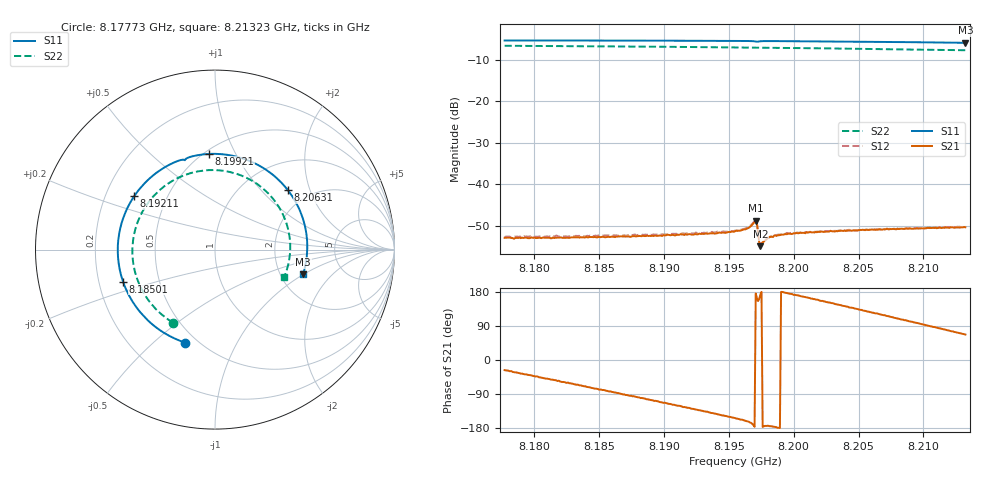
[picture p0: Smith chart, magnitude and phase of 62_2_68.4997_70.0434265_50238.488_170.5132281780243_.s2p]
#  HZ  S  RI  R  50.00
! Rohde & Schwarz Vector Network Analyzer
! Rohde-Schwarz,ZNB20-2Port,1311601062101988,3.16
! Created: UTC 3/20/2024, 5:06:32 PM
! freq[Hz]  re:S11  im:S11  re:S21  im:S21  re:S12  im:S12  re:S22  im:S22
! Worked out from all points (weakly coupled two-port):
!   401 points, 8.17773 GHz to 8.21323 GHz, reference 50 ohm
!   highest |S21| = -48.84 dB at 8.19708 GHz (marker M1); lowest = -55.0 dB at 8.19743 GHz (marker M2)
!   lowest |S11| = -5.9 dB at 8.21323 GHz (marker M3), VSWR 3.08, Z = 133 - j49.6 ohm
!   |S11| at or under -10 dB: nowhere
!   |S22| runs from -7.6 to -6.6 dB; largest |S21 - S12| = 0.00018
!   S11 on the Smith chart (normalised r, x): 8.17773 GHz: 0.43, -0.64; 8.18501 GHz: 0.30, -0.15; 8.19211 GHz: 0.32, +0.27; 8.19921 GHz: 0.53, +0.79; 8.20631 GHz: 1.57, +1.43; 8.21323 GHz: 2.65, -0.99
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8.177733e9  -0.1655 -0.5184  0.00201 -0.00101  0.00204 -0.00106  -0.2349 -0.4066
8.180484e9  -0.3325 -0.4301  0.00156 -0.00161  0.0016 -0.00169  -0.352 -0.3062
8.183679e9  -0.4753 -0.2626  0.000856 -0.00211  0.000839 -0.0022  -0.4378 -0.1509
8.18501e9  -0.5126 -0.178  0.000475 -0.00226  0.00047 -0.00236  -0.4551 -0.0789
8.187317e9  -0.5415 -0.0202  -0.00016 -0.00234  -0.000194 -0.00241  -0.457 0.049
8.189625e9  -0.5227 0.1396  -0.000816 -0.00224  -0.0009 -0.00231  -0.4233 0.1722
8.192109e9  -0.4505 0.2972  -0.00153 -0.00193  -0.00165 -0.00194  -0.3503 0.2891
8.195481e9  -0.2794 0.4591  -0.00241 -0.00122  -0.00251 -0.00111  -0.2006 0.402
8.196458e9  -0.2167 0.4902  -0.0028 -0.000905  -0.0029 -0.000839  -0.1496 0.4219
8.19699e9  -0.1779 0.501  -0.00349 -0.000227  -0.00359 -0.000102  -0.1206 0.4302
8.197079e9  -0.1712 0.5  -0.0036 0.00028  -0.00366 0.000452  -0.1157 0.4312
8.197434e9  -0.1586 0.508  -0.00177 0.000236  -0.00182 0.000311  -0.0963 0.4356
8.197522e9  -0.1523 0.5112  -0.00191 1.19e-05  -0.0019 8.84e-05  -0.0913 0.4364
8.198144e9  -0.1077 0.5238  -0.0023 -0.000213  -0.00231 -0.00015  -0.0566 0.4411
8.199209e9  -0.0322 0.5329  -0.00246 4.61e-05  -0.00249 0.00017  0.00384 0.4428
8.201427e9  0.1232 0.5169  -0.00248 0.000804  -0.00247 0.000928  0.1278 0.4196
8.203823e9  0.2779 0.4491  -0.00217 0.00164  -0.00214 0.00173  0.249 0.355
8.206308e9  0.4068 0.33  -0.00153 0.00236  -0.00148 0.00243  0.3481 0.2496
8.207373e9  0.4486 0.2669  -0.0012 0.00259  -0.00114 0.00266  0.379 0.1946
8.210301e9  0.5114 0.0692  -5.13e-05 0.00297  3.52e-05 0.00298  0.4192 0.0245
8.211721e9  0.5119 -0.0324  0.000529 0.00297  0.000615 0.00295  0.4126 -0.0619
8.21323e9  0.4903 -0.1384  0.00117 0.00278  0.00124 0.00278  0.3861 -0.1513
